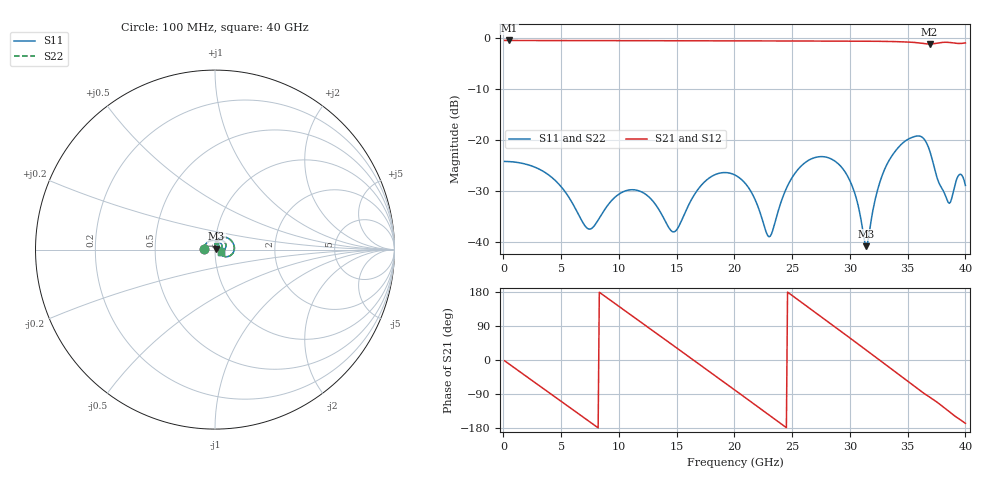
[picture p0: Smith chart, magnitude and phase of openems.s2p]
! T_vna6_cpwg_10: Coplanar waveguide with ground, LibreVNA RF class (w 0.35, gap 0.18 mm), 10 mm
! stackup: LibreVNA 6-layer (7628 / FR-4, from the board file)
! ports: 1 near A, 2 far A
! openEMS 0.37.0, staircase, fine mesh (dfine 0.0175 mm), 1456728 cells
# Hz S RI R 50
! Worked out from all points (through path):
!   400 points, 100 MHz to 40 GHz, reference 50 ohm
!   highest |S21| = -0.55 dB at 500 MHz (marker M1); lowest = -1.2 dB at 36.9 GHz (marker M2)
!   group delay of S21, straight-line fit = 61.7 ps
!   lowest |S11| = -40.9 dB at 31.4 GHz (marker M3), VSWR 1.02, Z = 50.8 + j0.502 ohm
!   |S11| at or under -10 dB: start of sweep to end of sweep
!   |S22| runs from -40.9 to -19.3 dB; largest |S21 - S12| = 0
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1e8  -0.061 0.00294  0.9379 -0.0358  0.9379 -0.0358  -0.061 0.00294
5e8  -0.0591 0.0145  0.9216 -0.178  0.9216 -0.178  -0.0591 0.0145
3.8e9  0.00729 0.0454  0.114 -0.9294  0.114 -0.9294  0.00729 0.0454
6.8e9  0.0108 0.0117  -0.797 -0.4892  -0.797 -0.4892  0.0108 0.0117
9.6e9  0.00443 0.0265  -0.8119 0.4627  -0.8119 0.4627  0.00443 0.0265
1.16e10  0.0202 0.0245  -0.2653 0.8953  -0.2653 0.8953  0.0202 0.0245
1.34e10  0.0182 0.0107  0.3645 0.8592  0.3645 0.8592  0.0182 0.0107
1.48e10  0.006 0.0109  0.7526 0.5513  0.7526 0.5513  0.006 0.0109
1.67e10  0.00284 0.0307  0.9273 -0.0915  0.9273 -0.0915  0.00284 0.0307
2.01e10  0.0385 0.0225  0.1499 -0.9177  0.1499 -0.9177  0.0385 0.0225
2.3e10  0.00765 0.00808  -0.7624 -0.5314  -0.7624 -0.5314  0.00765 0.00808
2.48e10  0.0041 0.0387  -0.9237 0.0856  -0.9237 0.0856  0.0041 0.0387
2.67e10  0.0404 0.051  -0.6217 0.6848  -0.6217 0.6848  0.0404 0.051
2.82e10  0.061 0.0251  -0.139 0.9129  -0.139 0.9129  0.061 0.0251
2.96e10  0.0478 -0.00318  0.3579 0.8511  0.3579 0.8511  0.0478 -0.00318
3.14e10  0.00753 0.00495  0.8264 0.4104  0.8264 0.4104  0.00753 0.00495
3.34e10  0.0194 0.0597  0.8657 -0.3029  0.8657 -0.3029  0.0194 0.0597
3.53e10  0.0926 0.0477  0.4099 -0.8035  0.4099 -0.8035  0.0926 0.0477
3.69e10  0.0675 -0.0395  -0.1192 -0.8587  -0.1192 -0.8587  0.0675 -0.0395
3.86e10  0.0237 -0.000463  -0.6534 -0.6157  -0.6534 -0.6157  0.0237 -0.000463
3.94e10  0.0439 0.00679  -0.7913 -0.3781  -0.7913 -0.3781  0.0439 0.00679
4e10  0.0326 -0.0141  -0.8655 -0.1992  -0.8655 -0.1992  0.0326 -0.0141
